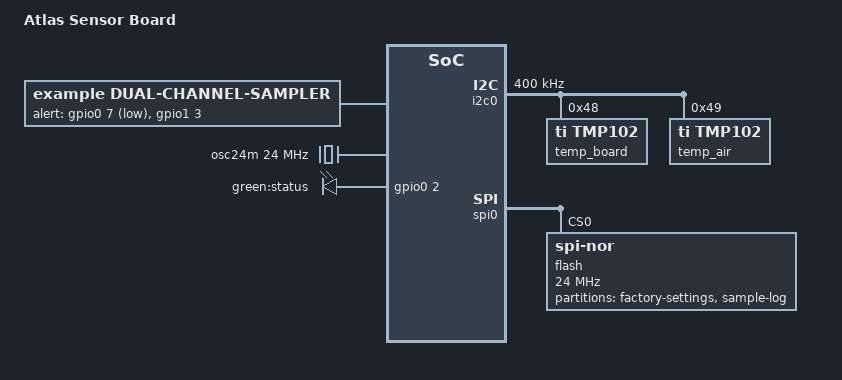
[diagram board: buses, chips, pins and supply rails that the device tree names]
/dts-v1/;

/* 虚构的采集板：两路温度报警、状态灯和一片用于保存采样记录的闪存。 */
#define GPIO_ACTIVE_HIGH    0
#define GPIO_ACTIVE_LOW     1
#define BOARD_REVISION      2
#define I2C_FAST_HZ         400000

/ {
    model = "Atlas Sensor Board";
    compatible = "example,atlas-sensor-board", "example,atlas-soc";
    #address-cells = <1>;
    #size-cells = <1>;

    aliases {
        i2c0 = &i2c0;
        spi0 = &spi0;
    };

    sampler {
        compatible = "example,dual-channel-sampler";
        sensors = <&temp_board>, <&temp_air>;
        alert-gpios =
            <&gpio0 7 GPIO_ACTIVE_LOW>,     // 板载探头
            <&gpio1 3 GPIO_ACTIVE_HIGH>;    // 外接探头
        channel-names = "board", "ambient";
        sample-interval-ms = <1000>;

        /* 前八个字节对应板载探头，后八个字节对应外接探头。 */
        example,calibration-data = [
            01 00 7F 80  12 34 AB CD
            02 01 00 FF  56 78 DE EF
        ];
        storage-partition = <&sample_log>;
        wakeup-source;
    };

    osc24m: clock-24m {
        compatible = "fixed-clock";
        #clock-cells = <0>;
        clock-frequency = <24000000>;
    };

    leds {
        compatible = "gpio-leds";

        led-status {
            label = "green:status";
            gpios = <&gpio0 2 GPIO_ACTIVE_HIGH>;
            default-state = "on";
        };
    };

    soc {
        compatible = "simple-bus";
        #address-cells = <1>;
        #size-cells = <1>;
        ranges;

        gpio0: gpio@40000000 {
            compatible = "example,atlas-gpio";
            reg = <0x40000000 0x1000>;
            gpio-controller;
            #gpio-cells = <2>;
        };

        gpio1: gpio@40001000 {
            compatible = "example,atlas-gpio";
            reg = <0x40001000 0x1000>;
            gpio-controller;
            #gpio-cells = <2>;
        };

        i2c0: i2c@40010000 {
            compatible = "example,atlas-i2c";
            reg = <0x40010000 0x1000>;
            clocks = <&osc24m>;
            #address-cells = <1>;
            #size-cells = <0>;
            status = "disabled";
        };

        spi0: spi@40020000 {
            compatible = "example,atlas-spi";
            reg = <0x40020000 0x1000>;
            clocks = <&osc24m>;
            #address-cells = <1>;
            #size-cells = <0>;
            status = "disabled";
        };
    };
};

/* 同一控制器按板卡版本选择总线速度。 */
&i2c0 {
#if BOARD_REVISION >= 2
    clock-frequency = <I2C_FAST_HZ>;
#else
    clock-frequency = <100000>;
#endif
    status = "okay";

    temp_board: temperature-sensor@48 {
        compatible = "ti,tmp102";
        reg = <0x48>;
    };

    temp_air: temperature-sensor@49 {
        compatible = "ti,tmp102";
        reg = <0x49>;
    };
};

/* 通过完整路径启用 SPI。闪存地址从芯片内部的零偏移开始。 */
&{/soc/spi@40020000} {
    status = "okay";

    flash@0 {
        compatible = "jedec,spi-nor";
        reg = <0>;
        spi-max-frequency = <24000000>;

        partitions {
            compatible = "fixed-partitions";
            #address-cells = <1>;
            #size-cells = <1>;

            partition@0 {
                label = "factory-settings";
                reg = <0x00000000 0x00010000>;
                read-only;
            };

            sample_log: partition@10000 {
                label = "sample-log";
                reg = <0x00010000 0x000F0000>;
            };
        };
    };
};
